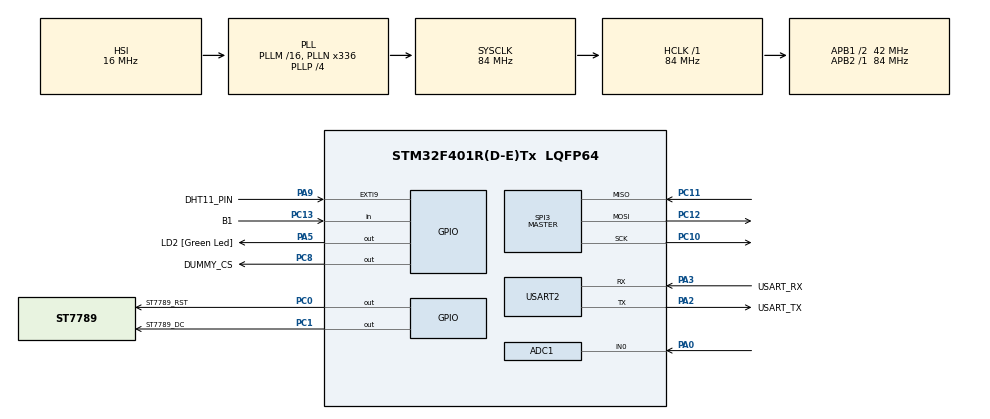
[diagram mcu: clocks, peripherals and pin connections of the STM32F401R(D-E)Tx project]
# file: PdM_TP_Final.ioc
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ADC1.Channel-0\#ChannelRegularConversion=ADC_CHANNEL_0
ADC1.ClockPrescaler=ADC_CLOCK_SYNC_PCLK_DIV8
ADC1.ContinuousConvMode=ENABLE
ADC1.NbrOfConversionFlag=1
ADC1.Rank-0\#ChannelRegularConversion=1
ADC1.SamplingTime-0\#ChannelRegularConversion=ADC_SAMPLETIME_3CYCLES
ADC1.master=1
Dma.Request0=SPI3_TX
Dma.SPI3_TX.0.Direction=DMA_MEMORY_TO_PERIPH
Dma.SPI3_TX.0.FIFOMode=DMA_FIFOMODE_DISABLE
Dma.SPI3_TX.0.Instance=DMA1_Stream5
Dma.SPI3_TX.0.MemDataAlignment=DMA_MDATAALIGN_BYTE
Dma.SPI3_TX.0.MemInc=DMA_MINC_ENABLE
Dma.SPI3_TX.0.Mode=DMA_NORMAL
Dma.SPI3_TX.0.PeriphDataAlignment=DMA_PDATAALIGN_BYTE
Dma.SPI3_TX.0.PeriphInc=DMA_PINC_DISABLE
Dma.SPI3_TX.0.Priority=DMA_PRIORITY_LOW
Mcu.Family=STM32F4
Mcu.Name=STM32F401R(D-E)Tx
Mcu.Package=LQFP64
NVIC.DMA1_Stream5_IRQn=true\:0\:0\:false\:false\:true\:false\:true\:true
NVIC.EXTI9_5_IRQn=true\:0\:0\:false\:false\:true\:true\:true\:true
NVIC.PriorityGroup=NVIC_PRIORITYGROUP_0
PA0-WKUP.Signal=ADCx_IN0
PA13.GPIO_Label=TMS
PA13.Mode=Serial_Wire
PA13.Signal=SYS_JTMS-SWDIO
PA14.GPIO_Label=TCK
PA14.Mode=Serial_Wire
PA14.Signal=SYS_JTCK-SWCLK
PA2.GPIO_Label=USART_TX
PA2.GPIO_Mode=GPIO_MODE_AF_PP
PA2.GPIO_PuPd=GPIO_NOPULL
PA2.GPIO_Speed=GPIO_SPEED_FREQ_LOW
PA2.Mode=Asynchronous
PA2.Signal=USART2_TX
PA3.GPIO_Label=USART_RX
PA3.GPIO_Mode=GPIO_MODE_AF_PP
PA3.GPIO_PuPd=GPIO_NOPULL
PA3.GPIO_Speed=GPIO_SPEED_FREQ_LOW
PA3.Mode=Asynchronous
PA3.Signal=USART2_RX
PA5.GPIO_Label=LD2 [Green Led]
PA5.GPIO_Mode=GPIO_MODE_OUTPUT_PP
PA5.GPIO_PuPd=GPIO_NOPULL
PA5.GPIO_Speed=GPIO_SPEED_FREQ_LOW
PA5.Signal=GPIO_Output
PA9.GPIO_Label=DHT11_PIN
PA9.GPIO_ModeDefaultEXTI=GPIO_MODE_IT_FALLING
PA9.GPIO_PuPd=GPIO_PULLUP
PA9.Signal=GPXTI9
PB3.GPIO_Label=SWO
PB3.Signal=SYS_JTDO-SWO
PC0.GPIO_Label=ST7789_RST
PC0.GPIO_Speed=GPIO_SPEED_FREQ_VERY_HIGH
PC0.Signal=GPIO_Output
PC1.GPIO_Label=ST7789_DC
PC1.GPIO_Speed=GPIO_SPEED_FREQ_VERY_HIGH
PC1.Signal=GPIO_Output
PC10.Mode=Full_Duplex_Master
PC10.Signal=SPI3_SCK
PC11.Mode=Full_Duplex_Master
PC11.Signal=SPI3_MISO
PC12.Mode=Full_Duplex_Master
PC12.Signal=SPI3_MOSI
PC13-ANTI_TAMP.GPIO_Label=B1
PC13-ANTI_TAMP.GPIO_PuPd=GPIO_PULLUP
PC13-ANTI_TAMP.Signal=GPIO_Input
PC14-OSC32_IN.Mode=LSE-External-Oscillator
PC14-OSC32_IN.Signal=RCC_OSC32_IN
PC15-OSC32_OUT.Mode=LSE-External-Oscillator
PC15-OSC32_OUT.Signal=RCC_OSC32_OUT
PC8.GPIO_Label=DUMMY_CS
PC8.Signal=GPIO_Output
PH0\ -\ OSC_IN.Mode=HSE-External-Clock-Source
PH0\ -\ OSC_IN.Signal=RCC_OSC_IN
PH1\ -\ OSC_OUT.Mode=HSE-External-Clock-Source
PH1\ -\ OSC_OUT.Signal=RCC_OSC_OUT
ProjectManager.HeapSize=0x200
ProjectManager.StackSize=0x400
ProjectManager.TargetToolchain=STM32CubeIDE
RCC.48MHZClocksFreq_Value=48000000
RCC.AHBFreq_Value=84000000
RCC.APB1CLKDivider=RCC_HCLK_DIV2
RCC.APB1Freq_Value=42000000
RCC.APB1TimFreq_Value=84000000
RCC.APB2Freq_Value=84000000
RCC.APB2TimFreq_Value=84000000
RCC.CortexFreq_Value=84000000
RCC.HCLKFreq_Value=84000000
RCC.HSE_VALUE=8000000
RCC.HSI_VALUE=16000000
RCC.PLLN=336
RCC.PLLP=RCC_PLLP_DIV4
RCC.PLLQ=7
RCC.SYSCLKFreq_VALUE=84000000
RCC.SYSCLKSource=RCC_SYSCLKSOURCE_PLLCLK
RCC.VCOOutputFreq_Value=336000000
SH.ADCx_IN0.0=ADC1_IN0,IN0
SPI3.BaudRatePrescaler=SPI_BAUDRATEPRESCALER_2
SPI3.CLKPolarity=SPI_POLARITY_HIGH
SPI3.Direction=SPI_DIRECTION_2LINES
SPI3.Mode=SPI_MODE_MASTER
SPI3.VirtualType=VM_MASTER
TIM1.Prescaler=83
USART2.VirtualMode=VM_ASYNC
VP_TIM1_VS_ClockSourceINT.Mode=Internal
board=NUCLEO-F401RE

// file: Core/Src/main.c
/* USER CODE BEGIN Header */
/**
  ******************************************************************************
  * @file           : main.c
  * @brief          : Main program body
  ******************************************************************************
  * @attention
  *
  * Copyright (c) 2023 STMicroelectronics.
  * All rights reserved.
  *
  * This software is licensed under terms that can be found in the LICENSE file
  * in the root directory of this software component.
  * If no LICENSE file comes with this software, it is provided AS-IS.
  *
  ******************************************************************************
  */
/* USER CODE END Header */
#include <API_DHT11_port.h>
#include "main.h"

/* USER CODE BEGIN Includes */
#include <stdio.h>
#include "API_DHT11.h"
#include "API_debounce.h"
#include "API_delay.h"
#include "stm32f4xx_ll_tim.h"
#include "st7789.h"
#include "API_uart.h"

/* USER CODE END Includes */

/* USER CODE BEGIN PM */

#define UART_BUFFER_SIZE 128

/* USER CODE END PM */

ADC_HandleTypeDef hadc1;

SPI_HandleTypeDef hspi3;
DMA_HandleTypeDef hdma_spi3_tx;

TIM_HandleTypeDef htim1;

UART_HandleTypeDef huart2;

void SystemClock_Config(void);
static void MX_GPIO_Init(void);
static void MX_DMA_Init(void);
static void MX_USART2_UART_Init(void);
static void MX_ADC1_Init(void);
static void MX_TIM1_Init(void);
static void MX_SPI3_Init(void);

/* USER CODE BEGIN 0 */
void b1Pressed(void);
void b1Released(void);
void displayDrawSquares(void);
void displayUpdateValues(void);

/* Override low-level _write system call */
int _write(int file, char *ptr, int len) {
    int DataIdx;
    for (DataIdx = 0; DataIdx < len; DataIdx++) {
        ITM_SendChar(*ptr++);
    }
    return len;
}

/* USER CODE END 0 */

int main(void)
{

  /* MCU Configuration--------------------------------------------------------*/

  /* Reset of all peripherals, Initializes the Flash interface and the Systick. */
  HAL_Init();

  /* Configure the system clock */
  SystemClock_Config();

  /* Initialize all configured peripherals */
  MX_GPIO_Init();
  MX_DMA_Init();
  MX_USART2_UART_Init();
  MX_ADC1_Init();
  MX_TIM1_Init();
  MX_SPI3_Init();
  /* USER CODE BEGIN 2 */

  debounce_t buttonB1 = {
		  .port = B1_GPIO_Port,
		  .pin = B1_Pin,
		  .pressed = b1Pressed,
		  .released = b1Released
  };

  delay_t screenDelay;

	delayInit(&screenDelay, 500);

  debounceFSM_init(&buttonB1);
	Port_dhtPinInit(DHT11_PIN_GPIO_Port, DHT11_PIN_Pin, DHT11_PIN_EXTI_IRQn,
			&htim1);
	dhtInit();
  ST7789_Init();

	//Se inicializa la UART
	if (!uartInit()) {
		Error_Handler();
	}

  dhtTemp_t temperatura;
  uint8_t humedad;
  uint8_t auxStr[16];
	uint32_t higrometerVal;
	uint8_t uartBuffer[UART_BUFFER_SIZE];
  //LCD_init();
  /* USER CODE END 2 */

  /* Infinite loop */
  /* USER CODE BEGIN WHILE */

  	ST7789_DrawImage(0, 0, 240, 240, (uint16_t *)LOTR);
	HAL_Delay(500);
	displayDrawSquares();

  while (1)
  {

		dhtFSM_update();
	debounceFSM_update(&buttonB1);

	//ST7789_WriteString(10, 10, "TEMPERATURA", Font_16x26, YELLOW, BLACK);
	if(delayRead(&screenDelay)){
		temperatura = dhtGetTemp();
		humedad = dhtGetHum();
		HAL_ADC_Start(&hadc1);
			higrometerVal = HAL_ADC_GetValue(&hadc1);

			snprintf((char*) auxStr, 5, "%.2u,%u", temperatura.integers,
					temperatura.decimals);

		ST7789_WriteString(28, 40, (char*) auxStr, Font_16x26, YELLOW,
					BLACK);
			snprintf((char*) auxStr, 4, "%.2u", humedad);
			ST7789_WriteString(164, 40, (char*) auxStr, Font_16x26, YELLOW,
					BLACK);
			snprintf((char*) auxStr, 5, "%.4lu", higrometerVal);
			ST7789_WriteString(80, 145, (char*) auxStr, Font_16x26, YELLOW,
					BLACK);
			snprintf((char*) uartBuffer, UART_BUFFER_SIZE, "%u.%u,%u,%lu\r\n",
					temperatura.integers, temperatura.decimals, humedad,
					higrometerVal);
			uartSendString(uartBuffer);

			dhtStartComm();
	}

    /* USER CODE END WHILE */

  }
}

void SystemClock_Config(void)
{
  RCC_OscInitTypeDef RCC_OscInitStruct = {0};
  RCC_ClkInitTypeDef RCC_ClkInitStruct = {0};

  /** Configure the main internal regulator output voltage
  */
  __HAL_RCC_PWR_CLK_ENABLE();
  __HAL_PWR_VOLTAGESCALING_CONFIG(PWR_REGULATOR_VOLTAGE_SCALE2);

  /** Initializes the RCC Oscillators according to the specified parameters
  * in the RCC_OscInitTypeDef structure.
  */
  RCC_OscInitStruct.OscillatorType = RCC_OSCILLATORTYPE_HSI;
  RCC_OscInitStruct.HSIState = RCC_HSI_ON;
  RCC_OscInitStruct.HSICalibrationValue = RCC_HSICALIBRATION_DEFAULT;
  RCC_OscInitStruct.PLL.PLLState = RCC_PLL_ON;
  RCC_OscInitStruct.PLL.PLLSource = RCC_PLLSOURCE_HSI;
  RCC_OscInitStruct.PLL.PLLM = 16;
  RCC_OscInitStruct.PLL.PLLN = 336;
  RCC_OscInitStruct.PLL.PLLP = RCC_PLLP_DIV4;
  RCC_OscInitStruct.PLL.PLLQ = 7;
  if (HAL_RCC_OscConfig(&RCC_OscInitStruct) != HAL_OK)
  {
    Error_Handler();
  }

  /** Initializes the CPU, AHB and APB buses clocks
  */
  RCC_ClkInitStruct.ClockType = RCC_CLOCKTYPE_HCLK|RCC_CLOCKTYPE_SYSCLK
                              |RCC_CLOCKTYPE_PCLK1|RCC_CLOCKTYPE_PCLK2;
  RCC_ClkInitStruct.SYSCLKSource = RCC_SYSCLKSOURCE_PLLCLK;
  RCC_ClkInitStruct.AHBCLKDivider = RCC_SYSCLK_DIV1;
  RCC_ClkInitStruct.APB1CLKDivider = RCC_HCLK_DIV2;
  RCC_ClkInitStruct.APB2CLKDivider = RCC_HCLK_DIV1;

  if (HAL_RCC_ClockConfig(&RCC_ClkInitStruct, FLASH_LATENCY_2) != HAL_OK)
  {
    Error_Handler();
  }
}

static void MX_ADC1_Init(void)
{

  ADC_ChannelConfTypeDef sConfig = {0};

  /** Configure the global features of the ADC (Clock, Resolution, Data Alignment and number of conversion)
  */
  hadc1.Instance = ADC1;
  hadc1.Init.ClockPrescaler = ADC_CLOCK_SYNC_PCLK_DIV8;
  hadc1.Init.Resolution = ADC_RESOLUTION_12B;
  hadc1.Init.ScanConvMode = DISABLE;
  hadc1.Init.ContinuousConvMode = ENABLE;
  hadc1.Init.DiscontinuousConvMode = DISABLE;
  hadc1.Init.ExternalTrigConvEdge = ADC_EXTERNALTRIGCONVEDGE_NONE;
  hadc1.Init.ExternalTrigConv = ADC_SOFTWARE_START;
  hadc1.Init.DataAlign = ADC_DATAALIGN_RIGHT;
  hadc1.Init.NbrOfConversion = 1;
  hadc1.Init.DMAContinuousRequests = DISABLE;
  hadc1.Init.EOCSelection = ADC_EOC_SINGLE_CONV;
  if (HAL_ADC_Init(&hadc1) != HAL_OK)
  {
    Error_Handler();
  }

  /** Configure for the selected ADC regular channel its corresponding rank in the sequencer and its sample time.
  */
  sConfig.Channel = ADC_CHANNEL_0;
  sConfig.Rank = 1;
  sConfig.SamplingTime = ADC_SAMPLETIME_3CYCLES;
  if (HAL_ADC_ConfigChannel(&hadc1, &sConfig) != HAL_OK)
  {
    Error_Handler();
  }

}

static void MX_SPI3_Init(void)
{

  /* SPI3 parameter configuration*/
  hspi3.Instance = SPI3;
  hspi3.Init.Mode = SPI_MODE_MASTER;
  hspi3.Init.Direction = SPI_DIRECTION_2LINES;
  hspi3.Init.DataSize = SPI_DATASIZE_8BIT;
  hspi3.Init.CLKPolarity = SPI_POLARITY_HIGH;
  hspi3.Init.CLKPhase = SPI_PHASE_1EDGE;
  hspi3.Init.NSS = SPI_NSS_SOFT;
  hspi3.Init.BaudRatePrescaler = SPI_BAUDRATEPRESCALER_2;
  hspi3.Init.FirstBit = SPI_FIRSTBIT_MSB;
  hspi3.Init.TIMode = SPI_TIMODE_DISABLE;
  hspi3.Init.CRCCalculation = SPI_CRCCALCULATION_DISABLE;
  hspi3.Init.CRCPolynomial = 10;
  if (HAL_SPI_Init(&hspi3) != HAL_OK)
  {
    Error_Handler();
  }

}

static void MX_TIM1_Init(void)
{

  TIM_ClockConfigTypeDef sClockSourceConfig = {0};
  TIM_MasterConfigTypeDef sMasterConfig = {0};

  htim1.Instance = TIM1;
  htim1.Init.Prescaler = 83;
  htim1.Init.CounterMode = TIM_COUNTERMODE_UP;
  htim1.Init.Period = 65535;
  htim1.Init.ClockDivision = TIM_CLOCKDIVISION_DIV1;
  htim1.Init.RepetitionCounter = 0;
  htim1.Init.AutoReloadPreload = TIM_AUTORELOAD_PRELOAD_DISABLE;
  if (HAL_TIM_Base_Init(&htim1) != HAL_OK)
  {
    Error_Handler();
  }
  sClockSourceConfig.ClockSource = TIM_CLOCKSOURCE_INTERNAL;
  if (HAL_TIM_ConfigClockSource(&htim1, &sClockSourceConfig) != HAL_OK)
  {
    Error_Handler();
  }
  sMasterConfig.MasterOutputTrigger = TIM_TRGO_RESET;
  sMasterConfig.MasterSlaveMode = TIM_MASTERSLAVEMODE_DISABLE;
  if (HAL_TIMEx_MasterConfigSynchronization(&htim1, &sMasterConfig) != HAL_OK)
  {
    Error_Handler();
  }

}

static void MX_USART2_UART_Init(void)
{

  huart2.Instance = USART2;
  huart2.Init.BaudRate = 115200;
  huart2.Init.WordLength = UART_WORDLENGTH_8B;
  huart2.Init.StopBits = UART_STOPBITS_1;
  huart2.Init.Parity = UART_PARITY_NONE;
  huart2.Init.Mode = UART_MODE_TX_RX;
  huart2.Init.HwFlowCtl = UART_HWCONTROL_NONE;
  huart2.Init.OverSampling = UART_OVERSAMPLING_16;
  if (HAL_UART_Init(&huart2) != HAL_OK)
  {
    Error_Handler();
  }

}

static void MX_DMA_Init(void)
{

  /* DMA controller clock enable */
  __HAL_RCC_DMA1_CLK_ENABLE();

  /* DMA interrupt init */
  /* DMA1_Stream5_IRQn interrupt configuration */
  HAL_NVIC_SetPriority(DMA1_Stream5_IRQn, 0, 0);
  HAL_NVIC_EnableIRQ(DMA1_Stream5_IRQn);

}

static void MX_GPIO_Init(void)
{
  GPIO_InitTypeDef GPIO_InitStruct = {0};

  /* GPIO Ports Clock Enable */
  __HAL_RCC_GPIOC_CLK_ENABLE();
  __HAL_RCC_GPIOH_CLK_ENABLE();
  __HAL_RCC_GPIOA_CLK_ENABLE();
  __HAL_RCC_GPIOB_CLK_ENABLE();

  /*Configure GPIO pin Output Level */
  HAL_GPIO_WritePin(GPIOC, ST7789_RST_Pin|ST7789_DC_Pin|DUMMY_CS_Pin, GPIO_PIN_RESET);

  /*Configure GPIO pin Output Level */
  HAL_GPIO_WritePin(LD2_GPIO_Port, LD2_Pin, GPIO_PIN_RESET);

  /*Configure GPIO pin : B1_Pin */
  GPIO_InitStruct.Pin = B1_Pin;
  GPIO_InitStruct.Mode = GPIO_MODE_INPUT;
  GPIO_InitStruct.Pull = GPIO_PULLUP;
  HAL_GPIO_Init(B1_GPIO_Port, &GPIO_InitStruct);

  /*Configure GPIO pins : ST7789_RST_Pin ST7789_DC_Pin */
  GPIO_InitStruct.Pin = ST7789_RST_Pin|ST7789_DC_Pin;
  GPIO_InitStruct.Mode = GPIO_MODE_OUTPUT_PP;
  GPIO_InitStruct.Pull = GPIO_NOPULL;
  GPIO_InitStruct.Speed = GPIO_SPEED_FREQ_VERY_HIGH;
  HAL_GPIO_Init(GPIOC, &GPIO_InitStruct);

  /*Configure GPIO pin : LD2_Pin */
  GPIO_InitStruct.Pin = LD2_Pin;
  GPIO_InitStruct.Mode = GPIO_MODE_OUTPUT_PP;
  GPIO_InitStruct.Pull = GPIO_NOPULL;
  GPIO_InitStruct.Speed = GPIO_SPEED_FREQ_LOW;
  HAL_GPIO_Init(LD2_GPIO_Port, &GPIO_InitStruct);

  /*Configure GPIO pin : DUMMY_CS_Pin */
  GPIO_InitStruct.Pin = DUMMY_CS_Pin;
  GPIO_InitStruct.Mode = GPIO_MODE_OUTPUT_PP;
  GPIO_InitStruct.Pull = GPIO_NOPULL;
  GPIO_InitStruct.Speed = GPIO_SPEED_FREQ_LOW;
  HAL_GPIO_Init(DUMMY_CS_GPIO_Port, &GPIO_InitStruct);

  /*Configure GPIO pin : DHT11_PIN_Pin */
  GPIO_InitStruct.Pin = DHT11_PIN_Pin;
  GPIO_InitStruct.Mode = GPIO_MODE_IT_FALLING;
  GPIO_InitStruct.Pull = GPIO_PULLUP;
  HAL_GPIO_Init(DHT11_PIN_GPIO_Port, &GPIO_InitStruct);

  /* EXTI interrupt init*/
  HAL_NVIC_SetPriority(EXTI9_5_IRQn, 0, 0);
  HAL_NVIC_EnableIRQ(EXTI9_5_IRQn);

}

/* USER CODE BEGIN 4 */

void displayDrawSquares(void) {
	ST7789_DrawRectangle(10, 10, 110, 90, WHITE);
	ST7789_DrawRectangle(130, 10, 230, 90, WHITE);
	ST7789_DrawRectangle(10, 110, 230, 200, WHITE);
	ST7789_WriteString(40, 0, "Temp", Font_11x18, YELLOW, BLACK);
	ST7789_WriteString(170, 0, "Hum", Font_11x18, YELLOW, BLACK);
	ST7789_WriteString(70, 100, "Higrometro", Font_11x18, YELLOW, BLACK);
}

static bool toggleBg;

void b1Pressed(void){
	toggleBg = !toggleBg;
	if(!toggleBg){
		ST7789_DrawImage(0, 0, 240, 240, (uint16_t *)LOTR);
	}else{
		ST7789_Fill_Color(BLACK);
	}
	ST7789_DrawRectangle(10, 10, 110, 90, WHITE);
	ST7789_DrawRectangle(130, 10, 230, 90, WHITE);
	ST7789_DrawRectangle(10, 110, 230, 200, WHITE);
	ST7789_WriteString(40, 0, "Temp", Font_11x18, YELLOW, BLACK);
	ST7789_WriteString(170, 0, "Hum", Font_11x18, YELLOW, BLACK);
	ST7789_WriteString(70, 100, "Higrometro", Font_11x18, YELLOW, BLACK);
}

void b1Released(void){

}
/* USER CODE END 4 */

void Error_Handler(void)
{
  __disable_irq();
  while (1)
  {
  }
}
